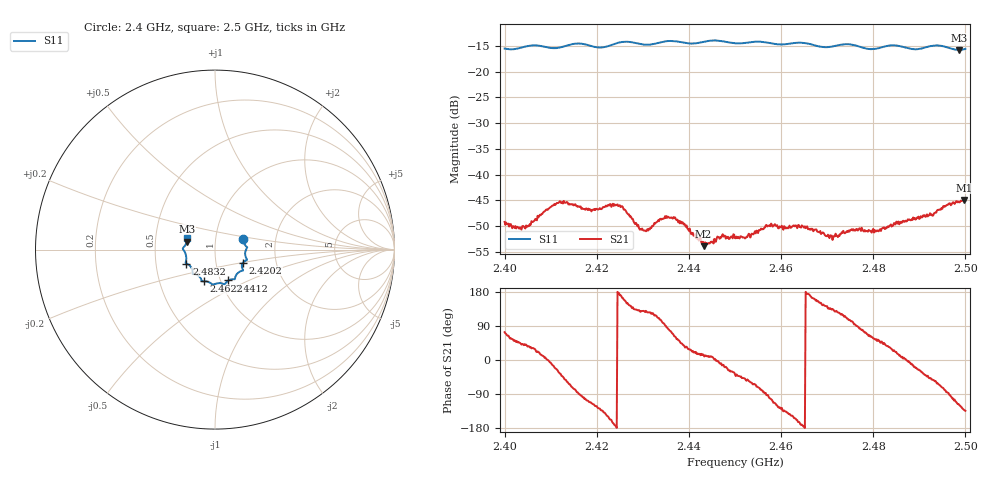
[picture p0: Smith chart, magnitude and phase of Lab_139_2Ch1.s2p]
# Hz S RI R 50
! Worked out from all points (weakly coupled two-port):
!   601 points, 2.4 GHz to 2.5 GHz, reference 50 ohm
!   highest |S21| = -44.90 dB at 2.4997 GHz (marker M1); lowest = -53.9 dB at 2.4432 GHz (marker M2)
!   lowest |S11| = -15.8 dB at 2.4987 GHz (marker M3), VSWR 1.39, Z = 36.4 + j3.35 ohm
!   |S11| at or under -10 dB: start of sweep to end of sweep
!   S12 and S22 are empty: the file has one direction only
!   S11 on the Smith chart (normalised r, x): 2.4 GHz: 1.36, +0.17; 2.4202 GHz: 1.35, -0.20; 2.4412 GHz: 1.09, -0.39; 2.4622 GHz: 0.83, -0.30; 2.4832 GHz: 0.72, -0.12; 2.5 GHz: 0.73, +0.09
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2.4e9  0.1566 0.0594  0.000999 0.00334  0 0  0 0
2.404833e9  0.1756 0.0164  0.00246 0.00192  0 0  0 0
2.411667e9  0.168 -0.027  0.00455 -0.00277  0 0  0 0
2.416667e9  0.1772 -0.0583  -0.000331 -0.00465  0 0  0 0
2.420167e9  0.1558 -0.0724  -0.0027 -0.00374  0 0  0 0
2.425e9  0.1557 -0.1127  -0.005 0.000808  0 0  0 0
2.430333e9  0.131 -0.1273  -0.00179 0.00224  0 0  0 0
2.433333e9  0.1131 -0.1524  -0.0013 0.00337  0 0  0 0
2.437e9  0.108 -0.165  0.00182 0.00339  0 0  0 0
2.441167e9  0.075 -0.1721  0.00242 0.00094  0 0  0 0
2.443167e9  0.0607 -0.1847  0.00197 0.000459  0 0  0 0
2.45e9  0.026 -0.1865  0.00191 -0.00149  0 0  0 0
2.452167e9  0.00601 -0.1898  0.00157 -0.00183  0 0  0 0
2.457333e9  -0.021 -0.189  -0.000455 -0.00317  0 0  0 0
2.462167e9  -0.0632 -0.1767  -0.00257 -0.00167  0 0  0 0
2.466667e9  -0.0767 -0.1664  -0.00288 0.000829  0 0  0 0
2.471e9  -0.1067 -0.1386  -0.00175 0.00188  0 0  0 0
2.483167e9  -0.1596 -0.0781  0.00253 0.0019  0 0  0 0
2.483333e9  -0.1605 -0.0777  0.00256 0.00175  0 0  0 0
2.498667e9  -0.1561 0.0449  -0.00259 -0.00472  0 0  0 0
2.499667e9  -0.1538 0.0585  -0.00375 -0.00428  0 0  0 0
2.5e9  -0.1535 0.0632  -0.0039 -0.00403  0 0  0 0
